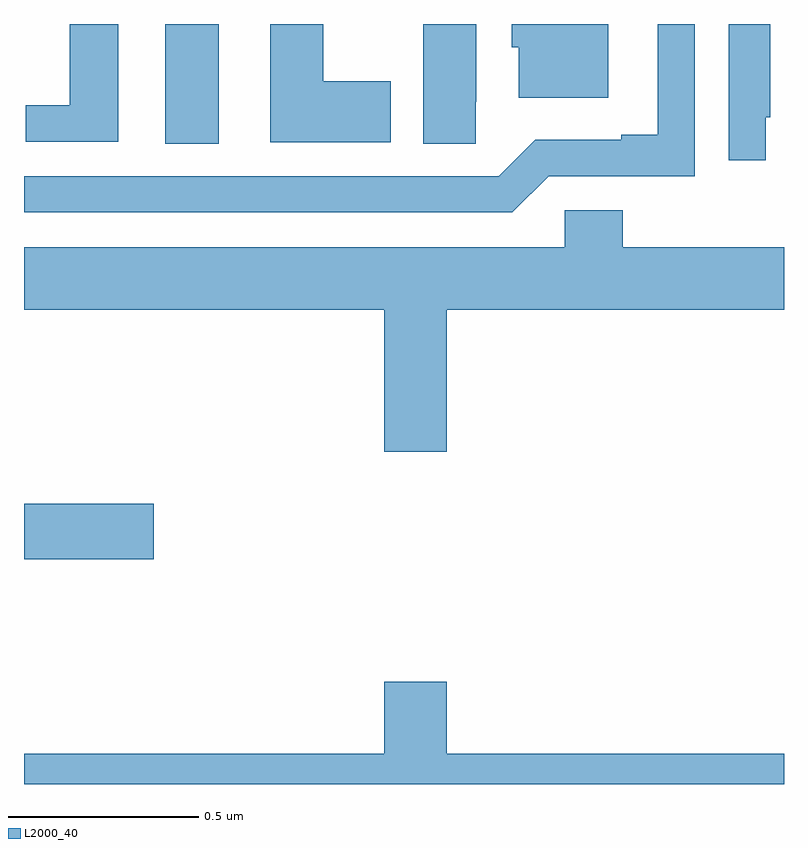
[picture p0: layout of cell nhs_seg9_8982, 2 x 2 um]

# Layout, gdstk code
import gdstk
lib = gdstk.Library(unit=1e-6, precision=1e-09)
def R(c, l, rs):  # rectangles x0, y0, x1, y1
    for r in rs: c.add(gdstk.rectangle(r[:2], r[2:], *l))
def P(c, l, *ps):  # polygons
    for p in ps: c.add(gdstk.Polygon(p, *l))
L2000_40 = (2000, 40)

nhs_seg9_8982 = lib.new_cell('nhs_seg9_8982')
R(nhs_seg9_8982, L2000_40, [(224,1201.091,224.341,1201.238), (224.372,1202.185,224.512,1202.5)])
P(nhs_seg9_8982, L2000_40, [(225.381,1202.1),(225.765,1202.1),(225.765,1202.5),(225.668,1202.5),(225.668,1202.209),(225.572,1202.209),(225.572,1202.196),(225.345,1202.196),(225.249,1202.1),(224,1202.1),(224,1202.004),(225.285,1202.004)],
  [(225.189,1202.296),(225.19,1202.296),(225.19,1202.5),(225.05,1202.5),(225.05,1202.185),(225.189,1202.185)],
  [(224.965,1202.349),(224.788,1202.349),(224.788,1202.5),(224.648,1202.5),(224.648,1202.189),(224.965,1202.189)],
  [(225.538,1202.5),(225.284,1202.5),(225.284,1202.439),(225.302,1202.439),(225.302,1202.306),(225.538,1202.306)],
  [(225.952,1202.254),(225.964,1202.254),(225.964,1202.5),(225.855,1202.5),(225.855,1202.142),(225.952,1202.142)],
  [(224.248,1202.5),(224.12,1202.5),(224.12,1202.286),(224.004,1202.286),(224.004,1202.19),(224.248,1202.19)],
  [(225.112,1201.748),(226,1201.748),(226,1201.912),(225.575,1201.912),(225.575,1202.01),(225.423,1202.01),(225.423,1201.912),(224,1201.912),(224,1201.748),(224.948,1201.748),(224.948,1201.374),(225.112,1201.374)],
  [(226,1200.58),(225.112,1200.58),(225.112,1200.769),(224.948,1200.769),(224.948,1200.58),(224,1200.58),(224,1200.5),(226,1200.5)])

lib.write_gds('nhs_seg9_8982.gds')
